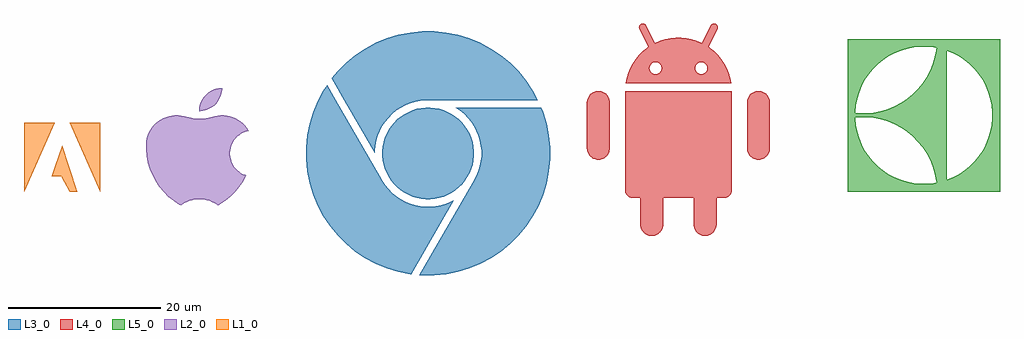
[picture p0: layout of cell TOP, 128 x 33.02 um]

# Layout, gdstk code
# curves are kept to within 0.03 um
from math import pi, radians
import gdstk
lib = gdstk.Library(unit=1e-6, precision=1e-09)
def P(c, l, *ps):  # polygons
    for p in ps: c.add(gdstk.Polygon(p, *l))
L1_0 = (1, 0)
L2_0 = (2, 0)
L3_0 = (3, 0)
L4_0 = (4, 0)
L5_0 = (5, 0)

circle_2 = lib.new_cell('CIRCLE$2')

circle_3 = lib.new_cell('CIRCLE$3')

circle_4 = lib.new_cell('CIRCLE$4')

circle = lib.new_cell('CIRCLE')

circle_6 = lib.new_cell('CIRCLE$6')

circle_9 = lib.new_cell('CIRCLE$9')

circle_8 = lib.new_cell('CIRCLE$8')

circle_11 = lib.new_cell('CIRCLE$11')

circle_12 = lib.new_cell('CIRCLE$12')

circle_15 = lib.new_cell('CIRCLE$15')

arc_1 = lib.new_cell('ARC$1')

circle_16 = lib.new_cell('CIRCLE$16')

circle_18 = lib.new_cell('CIRCLE$18')

circle_19 = lib.new_cell('CIRCLE$19')

circle_20 = lib.new_cell('CIRCLE$20')

circle_22 = lib.new_cell('CIRCLE$22')

circle_24 = lib.new_cell('CIRCLE$24')

circle_27 = lib.new_cell('CIRCLE$27')

circle_26 = lib.new_cell('CIRCLE$26')

circle_28 = lib.new_cell('CIRCLE$28')

top = lib.new_cell('TOP')
P(top, L1_0, [(-10,-2),(-10,7),(-6,7)],
  [(0,-2),(-4,7),(0,7)],
  [(-4,-2),(-5.111,0),(-6.333,0),(-5.875,1.375),(-5,4),(-3,-2)])
P(top, L2_0, [(10.557,-3.83),(9.632,-3.238),(8.949,-2.677),(8.323,-2.051),(7.762,-1.368),(7.271,-0.633),(6.854,0.147),(6.516,0.964),(6.259,1.811),(6.087,2.678),(6,3.558),(6,4.197),(6.115,4.973),(6.229,5.349),(6.565,6.059),(6.783,6.386),(7.311,6.967),(7.941,7.435),(8.651,7.771),(9.027,7.885),(9.803,8),(10.588,7.961),(12.153,7.607),(12.739,7.549),(13.915,7.607),(15.412,7.961),(16.197,8),(16.973,7.885),(17.349,7.771),(18.059,7.435),(18.386,7.217),(18.967,6.689),(19.489,5.957),(18.988,5.828),(18.456,5.576),(17.774,5.017),(17.424,4.544),(17.172,4.012),(17,3.147),(17.086,2.27),(17.285,1.716),(17.587,1.211),(18.211,0.587),(18.716,0.285),(19.135,0.127),(18.729,-0.633),(18.238,-1.368),(17.677,-2.051),(17.051,-2.677),(16.368,-3.238),(15.443,-3.83),(15.059,-3.565),(14.349,-3.229),(13.973,-3.115),(13.197,-3),(12.412,-3.039),(11.651,-3.229),(10.941,-3.565)],
  [(12.971,8.559),(13,9),(13.143,9.571),(13.395,10.103),(13.745,10.576),(14.182,10.972),(14.687,11.274),(15.241,11.473),(15.971,11.559),(15.942,11.118),(15.799,10.547),(15.547,10.015),(15.197,9.542),(14.76,9.146),(14.255,8.844),(13.701,8.645)])
P(top, L3_0, [(42.705,-3),(41.54,-2.827),(40.432,-2.43),(39.421,-1.825),(38.549,-1.034),(37.847,-0.088),(37.344,0.976),(37.058,2.119),(37,3.295),(37.173,4.46),(37.57,5.568),(38.175,6.579),(38.966,7.451),(39.912,8.153),(40.976,8.656),(42.119,8.942),(43.295,9),(44.46,8.827),(45.568,8.43),(46.579,7.825),(47.451,7.034),(48.153,6.088),(48.656,5.024),(48.942,3.881),(49,2.705),(48.827,1.54),(48.43,0.432),(47.825,-0.579),(47.034,-1.451),(46.088,-2.153),(45.024,-2.656),(43.881,-2.942)],
  [(42.214,-13),(41.868,-12.966),(49.011,-0.603),(49.336,0.004),(49.599,0.639),(49.798,1.297),(49.933,1.972),(50,2.656),(50,3.344),(49.933,4.028),(49.798,4.703),(49.599,5.361),(49.336,5.996),(49.011,6.603),(48.629,7.175),(48.193,7.707),(47.707,8.193),(47.175,8.629),(46.619,9),(57.833,9),(58.083,8.397),(58.539,6.892),(58.846,5.351),(59,3.786),(59,2.214),(58.846,0.649),(58.539,-0.892),(58.083,-2.397),(57.481,-3.849),(56.74,-5.236),(55.867,-6.543),(54.87,-7.758),(53.758,-8.87),(52.543,-9.867),(51.236,-10.74),(49.849,-11.481),(48.397,-12.083),(46.892,-12.539),(45.351,-12.846),(43.786,-13)],
  [(40.773,-12.858),(39.108,-12.539),(37.603,-12.083),(36.151,-11.481),(34.764,-10.74),(33.457,-9.867),(32.242,-8.87),(31.13,-7.758),(30.133,-6.543),(29.26,-5.236),(28.519,-3.849),(27.917,-2.397),(27.461,-0.892),(27.154,0.649),(27,2.214),(27,3.786),(27.154,5.351),(27.461,6.892),(27.917,8.397),(28.519,9.849),(29.26,11.236),(29.75,11.97),(36.989,-0.603),(37.371,-1.175),(37.807,-1.707),(38.293,-2.193),(38.825,-2.629),(39.397,-3.011),(40.004,-3.336),(40.639,-3.599),(41.297,-3.798),(41.972,-3.933),(42.656,-4),(43.344,-4),(44.028,-3.933),(44.703,-3.798),(45.361,-3.599),(46.393,-3.123)],
  [(36,3.117),(30.382,12.846),(31.13,13.758),(32.242,14.87),(33.457,15.867),(34.764,16.74),(36.151,17.481),(37.603,18.083),(39.108,18.539),(40.649,18.846),(42.214,19),(43.786,19),(45.351,18.846),(46.892,18.539),(48.397,18.083),(49.849,17.481),(51.236,16.74),(52.543,15.867),(53.758,14.87),(54.87,13.758),(55.867,12.543),(56.74,11.236),(57.4,10),(42.656,10),(41.972,9.933),(41.297,9.798),(40.639,9.599),(40.004,9.336),(39.397,9.011),(38.825,8.629),(38.293,8.193),(37.807,7.707),(37.371,7.175),(36.989,6.603),(36.664,5.996),(36.401,5.361),(36.202,4.703),(36.067,4.028)])
P(top, L4_0, [(65.252,2.183),(64.684,2.325),(64.317,2.57),(63.968,3.041),(63.84,3.463),(63.826,9.757),(63.968,10.325),(64.317,10.796),(64.82,11.097),(65.4,11.183),(65.968,11.041),(66.335,10.796),(66.684,10.325),(66.812,9.903),(66.826,3.609),(66.684,3.041),(66.335,2.57),(65.832,2.269)],
  [(86.252,2.183),(85.684,2.325),(85.317,2.57),(84.968,3.041),(84.84,3.463),(84.826,9.757),(84.968,10.325),(85.317,10.796),(85.82,11.097),(86.4,11.183),(86.968,11.041),(87.335,10.796),(87.684,10.325),(87.812,9.903),(87.826,3.609),(87.684,3.041),(87.335,2.57),(86.832,2.269)],
  [(68.89,12.183),(69.028,12.886),(69.227,13.544),(69.49,14.179),(69.947,14.983),(72.787,14.983),(72.556,14.937),(72.288,14.776),(72.102,14.525),(72.026,14.222),(72.072,13.913),(72.233,13.645),(72.414,13.496),(72.708,13.391),(73.021,13.406),(73.364,13.59),(73.55,13.841),(73.626,14.144),(73.58,14.453),(73.419,14.721),(73.168,14.907),(72.865,14.983),(78.787,14.983),(78.556,14.937),(78.349,14.826),(78.183,14.66),(78.072,14.453),(78.026,14.222),(78.049,13.988),(78.233,13.645),(78.414,13.496),(78.631,13.406),(79.021,13.406),(79.364,13.59),(79.513,13.771),(79.603,13.988),(79.618,14.301),(79.513,14.595),(79.238,14.87),(78.944,14.975),(69.947,14.983),(70.633,15.89),(71.119,16.376),(71.877,16.963),(70.679,19.368),(70.688,19.706),(70.91,19.961),(71.242,20.017),(71.424,19.946),(71.565,19.811),(72.741,17.471),(73.465,17.782),(74.123,17.981),(74.798,18.116),(75.482,18.183),(76.17,18.183),(76.854,18.116),(77.529,17.981),(78.187,17.782),(78.911,17.471),(80.117,19.85),(80.27,19.971),(80.508,20.025),(80.742,19.961),(80.919,19.793),(80.996,19.562),(80.955,19.322),(79.775,16.963),(80.533,16.376),(81.019,15.89),(81.455,15.358),(81.837,14.786),(82.162,14.179),(82.425,13.544),(82.624,12.886),(82.762,12.183)],
  [(72.252,-7.817),(71.684,-7.675),(71.317,-7.43),(71.038,-7.089),(70.869,-6.682),(70.826,-6.391),(70.826,-2.817),(69.777,-2.817),(69.398,-2.722),(69.022,-2.413),(68.836,-1.964),(68.826,11.183),(82.826,11.183),(82.816,-1.964),(82.63,-2.413),(82.254,-2.722),(81.875,-2.817),(80.826,-2.817),(80.826,-6.391),(80.783,-6.682),(80.614,-7.089),(80.439,-7.326),(80.098,-7.605),(79.691,-7.774),(79.4,-7.817),(79.106,-7.803),(78.684,-7.675),(78.317,-7.43),(78.038,-7.089),(77.869,-6.682),(77.826,-6.391),(77.826,-2.817),(73.826,-2.817),(73.826,-6.391),(73.74,-6.823),(73.532,-7.212),(73.221,-7.523),(72.691,-7.774)])
P(top, L5_0, [(98,-2),(98,7.75),(99.521,7.75),(99,7.699),(99,7.558),(99.087,6.678),(99.259,5.811),(99.516,4.964),(99.854,4.147),(100.271,3.367),(100.762,2.632),(101.323,1.949),(101.949,1.323),(102.632,0.762),(103.367,0.271),(104.147,-0.146),(104.964,-0.484),(105.811,-0.741),(106.678,-0.913),(107.558,-1),(108.442,-1),(109.322,-0.913),(110.189,-0.741),(109.683,-0.841),(109.469,0.372),(109.191,1.289),(108.825,2.174),(108.373,3.019),(107.841,3.815),(107.233,4.556),(106.556,5.233),(105.815,5.841),(105.019,6.373),(104.174,6.825),(103.289,7.191),(102.372,7.469),(101.432,7.656),(100.479,7.75),(98,7.75),(98,17),(107.558,17),(106.678,16.913),(105.811,16.741),(104.964,16.484),(104.147,16.146),(103.367,15.729),(102.632,15.238),(101.949,14.677),(101.323,14.051),(100.762,13.368),(100.271,12.633),(99.854,11.853),(99.516,11.036),(99.259,10.189),(99.087,9.322),(99,8.301),(99.521,8.25),(100.479,8.25),(101.432,8.344),(102.372,8.531),(103.289,8.809),(104.174,9.175),(105.019,9.627),(105.815,10.159),(106.556,10.767),(107.233,11.444),(107.841,12.185),(108.373,12.981),(108.825,13.826),(109.191,14.711),(109.469,15.628),(109.641,16.495),(111,16.495),(111,-0.495),(111.853,-0.146),(112.633,0.271),(113.368,0.762),(114.051,1.323),(114.677,1.949),(115.238,2.632),(115.729,3.367),(116.146,4.147),(116.484,4.964),(116.741,5.811),(116.913,6.678),(117,7.558),(117,8.442),(116.913,9.322),(116.741,10.189),(116.484,11.036),(116.146,11.853),(115.729,12.633),(115.238,13.368),(114.677,14.051),(114.051,14.677),(113.368,15.238),(112.633,15.729),(111.853,16.146),(111,16.495),(109.641,16.495),(109.683,16.841),(110.189,16.741),(109.322,16.913),(108.442,17),(98,17),(98,18),(118,18),(118,-2)])
top.add(gdstk.Reference(circle_2, (16,4)))
top.add(gdstk.Reference(circle_3, (12,4)))
top.add(gdstk.Reference(circle_4, (10,4)))
top.add(gdstk.Reference(circle, (15,4)))
top.add(gdstk.Reference(circle_6, (11,4), rotation=pi/2))
top.add(gdstk.Reference(circle_9, (13,-7), rotation=pi/2))
top.add(gdstk.Reference(circle_8, (20,3), rotation=3*pi/2))
top.add(gdstk.Reference(circle_11, (15,9), rotation=3*pi/2))
top.add(gdstk.Reference(circle_12, (12,12), rotation=3*pi/2))
top.add(gdstk.Reference(circle_15, (43,3), rotation=3*pi/2))
top.add(gdstk.Reference(arc_1, (43,3), rotation=3*pi/2))
top.add(gdstk.Reference(circle_16, (85,15), rotation=3*pi/2))
top.add(gdstk.Reference(circle_18, (82,18), rotation=3*pi/2))
top.add(gdstk.Reference(circle_19, (88,18), rotation=3*pi/2))
top.add(gdstk.Reference(circle_20, (79,2), rotation=3*pi/2))
top.add(gdstk.Reference(circle_22, (91,2), rotation=3*pi/2))
top.add(gdstk.Reference(circle_24, (74,-1), rotation=3*pi/2))
top.add(gdstk.Reference(circle_27, (108,8), rotation=3*pi/2))
top.add(gdstk.Reference(circle_26, (100,18), rotation=3*pi/2))
top.add(gdstk.Reference(circle_28, (100,-2), rotation=3*pi/2))

lib.write_gds('TOP.gds')
